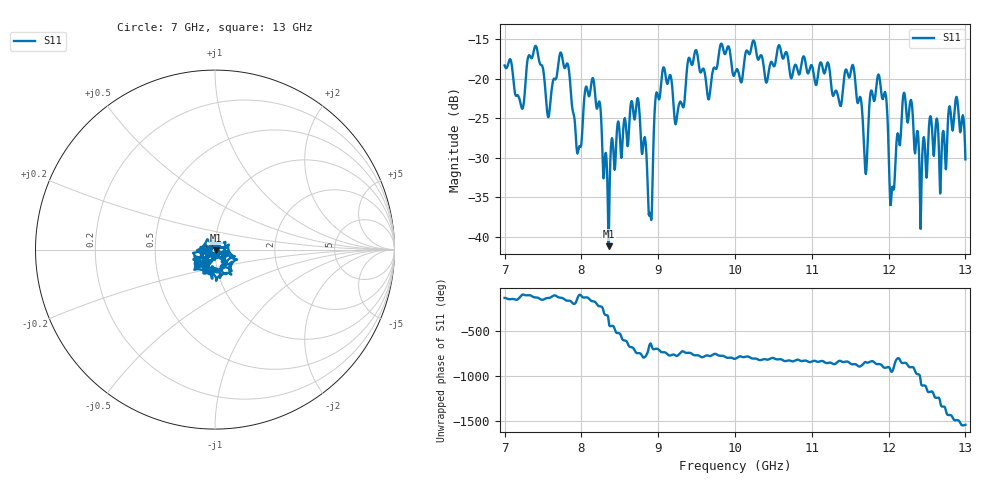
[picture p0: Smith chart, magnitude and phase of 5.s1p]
[Version] 2.0
! Rohde & Schwarz Vector Network Analyzer
! Rohde-Schwarz,ZNL20-2Port,1323001220200009,1.71.1.10-23.02.1.238
! Trace info:
! Nominal Param -> Actual Exported Buffer
! S11 -> S22
! Created: GMT+3 2024-09-24 16:37:34
# Hz S DB R 50
[Number of Ports] 1
! freq[Hz]  S11[mag dB]  S11[ang]
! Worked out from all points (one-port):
!   6001 points, 7 GHz to 13 GHz, reference 50 ohm
!   lowest |S11| = -41.2 dB at 8.354 GHz (marker M1), VSWR 1.02, Z = 50.8 - j0.458 ohm
!   |S11| at or under -10 dB: start of sweep to end of sweep
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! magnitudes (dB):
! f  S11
! 7 GHz  -18.3
! 7.227 GHz  -23.8
! 7.408 GHz  -15.9
! 7.57 GHz  -24.9
! 7.75 GHz  -17.3
! 7.963 GHz  -28.9
! 8.154 GHz  -20.0
! 8.354 GHz  -41.2
! 8.5 GHz  -27.2
! 8.735 GHz  -22.5
! 8.894 GHz  -37.1
! 8.968 GHz  -22.3
! 9.061 GHz  -18.8
! 9.25 GHz  -24.4
! 9.487 GHz  -16.4
! 9.654 GHz  -22.6
! 9.82 GHz  -15.6
! 10 GHz  -19.3
! 10.75 GHz  -19.5
! 11.5 GHz  -19.6
! 11.7 GHz  -32.0
! 11.88 GHz  -19.7
! 11.96 GHz  -22.2
! 12.04 GHz  -34.2
! 12.25 GHz  -25.5
! 12.42 GHz  -38.6
! 12.88 GHz  -22.3
! 13 GHz  -30.2
